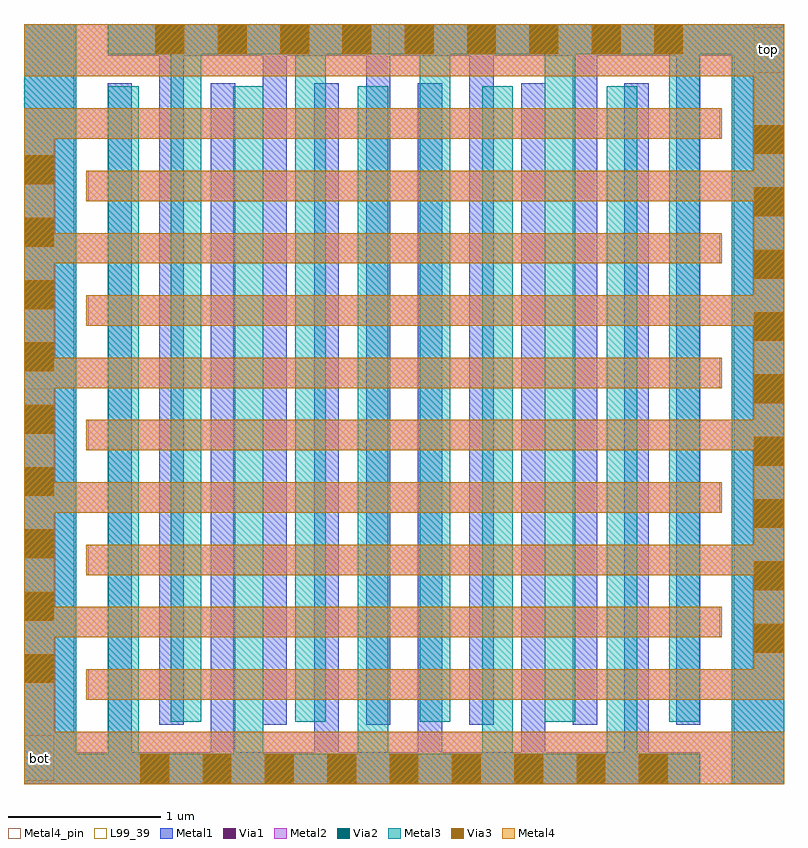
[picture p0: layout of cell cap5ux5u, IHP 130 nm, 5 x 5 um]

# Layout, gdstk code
import gdstk
lib = gdstk.Library(unit=1e-6, precision=1e-09)
def R(c, l, rs):  # rectangles x0, y0, x1, y1
    for r in rs: c.add(gdstk.rectangle(r[:2], r[2:], *l))
def A(c, l, x, y, w, h, nx, ny, dx, dy):  # array of equal rectangles
    R(c, l, [(x+i*dx, y+j*dy, x+i*dx+w, y+j*dy+h) for i in range(nx) for j in range(ny)])
Metal1 = (8, 0)
Metal2 = (10, 0)
Via1 = (19, 0)
Via2 = (29, 0)
Metal3 = (30, 0)
Via3 = (49, 0)
Metal4 = (50, 0)
Metal4_pin = (50, 2)
L99_39 = (99, 39)

cap_mfringe = lib.new_cell('cap_mfringe')
A(cap_mfringe, Metal1, 0.55, 0, 0.16, 4.61, 6, 1, 0.68, 0)
A(cap_mfringe, Metal1, 0.89, 0.39, 0.16, 4.61, 6, 1, 0.68, 0)
R(cap_mfringe, Metal1, [(0,0,0.33,5), (0,0,4.45,0.21), (4.67,0,5,5), (0.55,4.79,5,5)])
A(cap_mfringe, Metal2, 0.42, 0.555, 4.58, 0.2, 1, 5, 0, 0.82)
A(cap_mfringe, Metal2, 0, 0.965, 4.58, 0.2, 1, 5, 0, 0.82)
R(cap_mfringe, Metal2, [(0,0,5,0.345), (0,0,0.205,4.445), (4.795,0.555,5,5), (0,4.655,5,5)])
A(cap_mfringe, Via1, 0.765, 0.01, 0.19, 0.19, 9, 1, 0.41, 0)
A(cap_mfringe, Via1, 0.01, 0.665, 0.19, 0.19, 1, 9, 0, 0.41)
A(cap_mfringe, Via1, 4.8, 0.865, 0.19, 0.19, 1, 9, 0, 0.41)
A(cap_mfringe, Via1, 0.865, 4.8, 0.19, 0.19, 9, 1, 0.41, 0)
A(cap_mfringe, Via2, 0.765, 0.005, 0.19, 0.19, 9, 1, 0.41, 0)
A(cap_mfringe, Via2, 0.005, 0.665, 0.19, 0.19, 1, 9, 0, 0.41)
A(cap_mfringe, Via2, 4.805, 0.865, 0.19, 0.19, 1, 9, 0, 0.41)
A(cap_mfringe, Via2, 0.865, 4.805, 0.19, 0.19, 9, 1, 0.41, 0)
A(cap_mfringe, Metal3, 0.555, 0, 0.2, 4.59, 5, 1, 0.82, 0)
A(cap_mfringe, Metal3, 0.965, 0.41, 0.2, 4.59, 5, 1, 0.82, 0)
R(cap_mfringe, Metal3, [(0,0,0.345,5), (0,0,4.445,0.2), (4.655,0,5,5), (0.555,4.8,5,5)])
A(cap_mfringe, Via3, 0.765, 0.005, 0.19, 0.19, 9, 1, 0.41, 0)
A(cap_mfringe, Via3, 0.005, 0.665, 0.19, 0.19, 1, 9, 0, 0.41)
A(cap_mfringe, Via3, 4.805, 0.865, 0.19, 0.19, 1, 9, 0, 0.41)
A(cap_mfringe, Via3, 0.865, 4.805, 0.19, 0.19, 9, 1, 0.41, 0)
A(cap_mfringe, Metal4, 0.41, 0.555, 4.59, 0.2, 1, 5, 0, 0.82)
A(cap_mfringe, Metal4, 0, 0.965, 4.59, 0.2, 1, 5, 0, 0.82)
R(cap_mfringe, Metal4, [(0,0,5,0.345), (0,0,0.2,4.445), (4.8,0.555,5,5), (0,4.655,5,5)])
R(cap_mfringe, Metal4_pin, [(0,2.4,0.2,2.6), (2.4,4.8,2.6,5)])
R(cap_mfringe, L99_39, [(0,0,5,5)])
cap_mfringe.add(gdstk.Label('cap_mfringe C=58.000fF', (0,-0.5), layer=63, texttype=0))

cap5ux5u = lib.new_cell('cap5ux5u')
R(cap5ux5u, Metal4_pin, [(0,0.02,0.2,0.32), (4.8,4.68,5,4.98)])
cap5ux5u.add(gdstk.Reference(cap_mfringe, (0,0)))
cap5ux5u.add(gdstk.Label('bot', (0.1,0.17), layer=50, texttype=25))
cap5ux5u.add(gdstk.Label('top', (4.9,4.83), layer=50, texttype=25))

lib.write_gds('cap5ux5u.gds')
